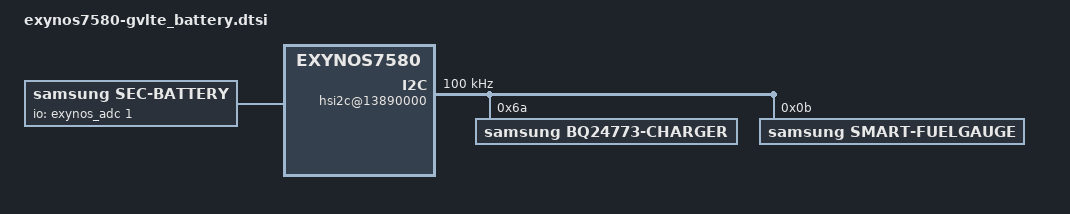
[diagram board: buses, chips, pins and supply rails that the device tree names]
/*
 * SAMSUNG UNIVERSAL7580 board device tree source
 *
 * Copyright (c) 2013 Samsung Electronics Co., Ltd.
 *		http://www.samsung.com
 *
 * This program is free software; you can redistribute it and/or modify
 * it under the terms of the GNU General Public License version 2 as
 * published by the Free Software Foundation.
*/

/ {
	pinctrl@139C0000 {
		otg_en: otg-en {
			samsung,pins = "gpd1-5";
			samsung,pin-function = <1>;
			samsung,pin-pud = <1>;
		};
		otg_en2: otg-en2 {
			samsung,pins = "gpd3-0";
			samsung,pin-function = <1>;
			samsung,pin-pud = <1>;
		};
        };

	battery {
		status = "okay";
		compatible = "samsung,sec-battery";
		battery,vendor = "SDI SDI";
		battery,charger_name = "bq24773-charger";
		battery,fuelgauge_name = "smart-fuelgauge";
		battery,technology = <2>; /* POWER_SUPPLY_TECHNOLOGY_LION */
		/* .temp_cohot = -1000; */
		/* .temp_cocold = -4325; */

		battery,chip_vendor = "LSI";
		battery,temp_adc_type = <0>; /* SEC_BATTERY_ADC_TYPE_AP */

		battery,polling_time = <10 30 30 30 3600>;
		battery,chg_temp_check = <0>;

		battery,input_current_limit = <1800 0 0 1800 460 900 1000 460 1000 0 820 1900 1800 0 0 400 700 1300 300 1000 1500 0 1667 1000 1667 80 1800 1667 1400 1000 1000>;
		battery,fast_charging_current = <2100 0 0 2100 460 1200 1000 460 1200 0 1200 1600 2100 0 0 400 700 1300 300 1000 1500 0 2600 1000 2600 80 1800 1000 1400 0 1000>;
		battery,full_check_current_1st = <250 0 0 250 250 250 250 250 250 0 250 250 250 0 0 250 250 250 250 250 250 0 250 250 250 0 250 250 250 0 250>;
		battery,full_check_current_2nd = <150 0 0 150 150 150 150 150 150 0 150 150 150 0 0 150 150 150 150 150 150 0 150 150 150 0 150 150 150 0 150>;

		battery,adc_check_count = <5>;

		battery,fake_capacity;

		battery,cable_check_type = <4>; /* SEC_BATTERY_CABLE_CHECK_PSY */
		battery,cable_source_type = <1>; /* SEC_BATTERY_CABLE_SOURCE_EXTERNAL */
		battery,event_waiting_time = <600>;
		battery,polling_type = <1>; /* SEC_BATTERY_MONITOR_ALARM */
		battery,monitor_initial_count = <0>;

		battery,battery_check_type = <0>; /* SEC_BATTERY_CHECK_CHARGER */
		battery,check_count = <0>;
		battery,check_adc_max = <1440>;
		battery,check_adc_min = <0>;

		battery,ovp_uvlo_check_type = <3>; /* SEC_BATTERY_OVP_UVLO_CHGPOLLING */

		battery,thermal_source = <0>; /* SEC_BATTERY_THERMAL_SOURCE_ADC */

		battery,temp_check_type = <0>; /* _BATTERY_TEMP_CHECK_TEMP */
		battery,temp_check_count = <1>;
		battery,temp_highlimit_threshold_event = <800>;
		battery,temp_highlimit_recovery_event = <750>;
		battery,temp_high_threshold_event = <700>;
		battery,temp_high_recovery_event = <460>;
		battery,temp_low_threshold_event = <(-30)>;
		battery,temp_low_recovery_event = <0>;
		battery,temp_highlimit_threshold_normal = <800>;
		battery,temp_highlimit_recovery_normal = <750>;
		battery,temp_high_threshold_normal = <600>;
		battery,temp_high_recovery_normal = <460>;
		battery,temp_low_threshold_normal = <(-50)>;
		battery,temp_low_recovery_normal = <0>;
		battery,temp_highlimit_threshold_lpm = <800>;
		battery,temp_highlimit_recovery_lpm = <750>;
		battery,temp_high_threshold_lpm = <600>;
		battery,temp_high_recovery_lpm = <460>;
		battery,temp_low_threshold_lpm = <(-50)>;
		battery,temp_low_recovery_lpm = <0>;
		battery,full_check_type = <7>; /* SEC_BATTERY_FULLCHARGED_CHGPSY */
		battery,full_check_type_2nd = <7>; /* SEC_BATTERY_FULLCHARGED_CHGPSY */
		battery,full_check_count = <1>;
		battery,chg_gpio_full_check = <0>;
		battery,chg_polarity_full_check = <1>;

		battery,chg_high_temp_1st = <530>;
		battery,chg_high_temp_2nd = <530>;
		battery,chg_high_temp_recovery = <525>;
		battery,chg_charging_limit_current = <1300>;
		battery,chg_charging_limit_current_2nd = <1300>;
		battery,chg_skip_check_capacity = <10>;
		battery,chg_skip_check_time = <600>;

		/* SEC_BATTERY_FULL_CONDITION_SOC |
		   SEC_BATTERY_FULL_CONDITION_NOTIMEFULL |
		   SEC_BATTERY_FULL_CONDITION_VCELL */
		battery,full_condition_type = <13>;
		battery,full_condition_soc = <97>;
		battery,full_condition_vcell = <4350>;

		battery,recharge_check_count = <2>;
		battery,recharge_condition_type = <4>; /* SEC_BATTERY_RECHARGE_CONDITION_VCELL */
		battery,recharge_condition_soc = <98>;
		battery,recharge_condition_vcell = <4350>;

		battery,charging_total_time = <21600>;
		battery,recharging_total_time = <5400>;
		battery,charging_reset_time = <0>;

		battery,chg_float_voltage = <4350>;

		battery,swelling_high_temp_block = <500>;
		battery,swelling_high_temp_recov = <450>;
		battery,swelling_low_temp_block = <50>;
		battery,swelling_low_temp_recov = <100>;
		battery,swelling_chg_current = <1300>;
		battery,swelling_drop_float_voltage = <4200>;
		battery,swelling_high_rechg_voltage = <4150>;
		battery,swelling_low_rechg_voltage = <4050>;
		battery,swelling_block_time = <600>;

		battery,always_enable;

		io-channels = <&exynos_adc 1>;
		io-channel-names = "adc-temp";
		#io-channel-cells = <2>;
		io-channel-ranges;
	};

	hsi2c@13890000 {
		status = "okay";
		clock-frequency = <100000>;
		bq24773-charger@6A {
			compatible = "samsung,bq24773-charger";
			reg = <0x6A>;

			pinctrl-names = "default";
			pinctrl-0 = <&otg_en &otg_en2>;
			charger,otg_en = <&gpd1 5 0>;
			charger,otg_en2 = <&gpd3 0 0>; /* OTG_EN for USB Host */

			battery,chg_float_voltage = <4400>;
		};
		smart-fuelgauge@0B {
			compatible = "samsung,smart-fuelgauge";
			reg = <0x0B>;
			fuelgauge,fuel_alert_soc = <1>;
			fuelgauge,capacity_max = <100>;
			fuelgauge,capacity_max_margin = <3>;
			fuelgauge,capacity_min = <0>;
			fuelgauge,capacity_calculation_type = <28>;
			fuelgauge,repeated_fuelalert;
			fuelgauge,type_str = "SDI";
		};
	};
};
